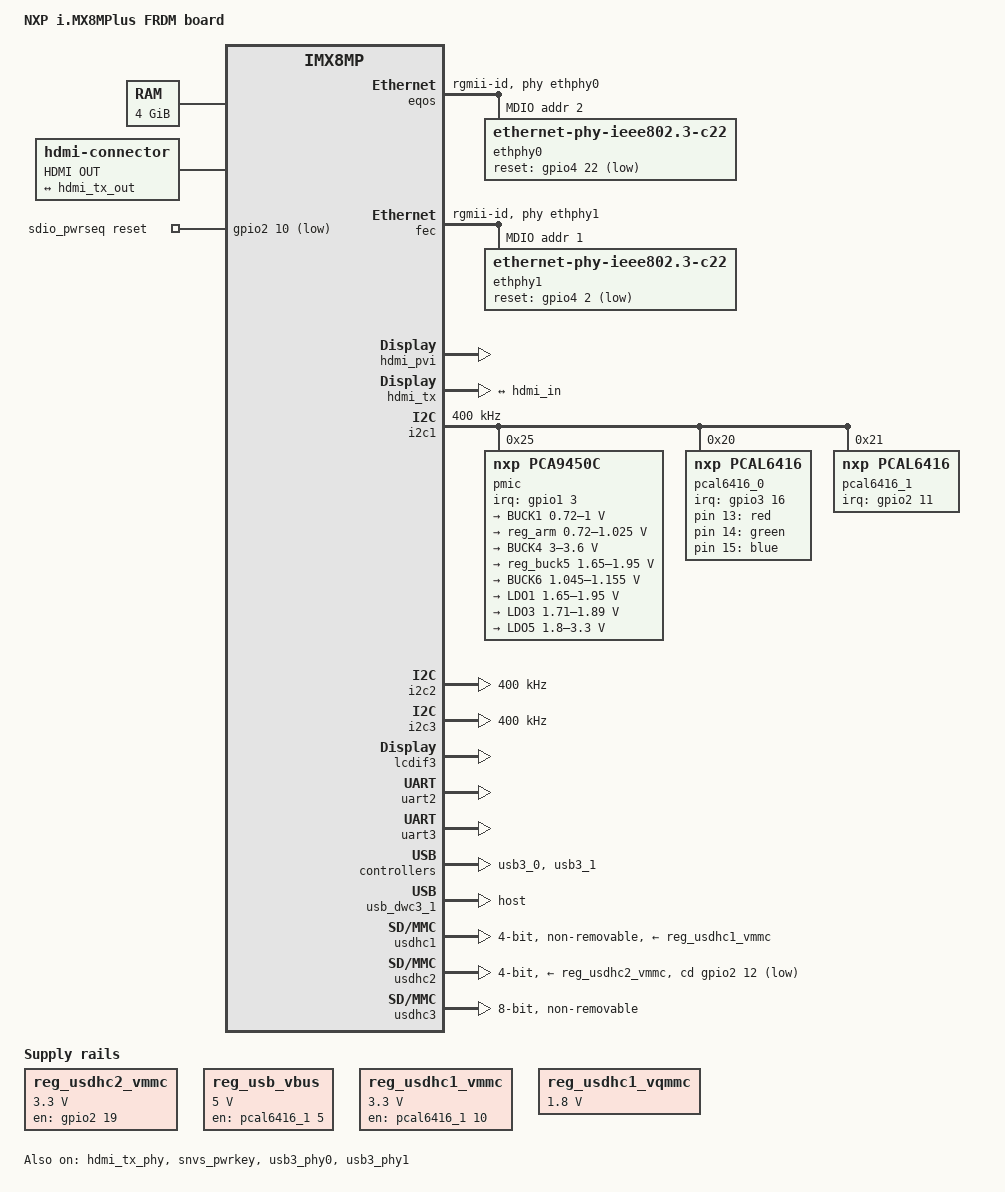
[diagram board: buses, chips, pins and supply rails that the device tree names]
// SPDX-License-Identifier: (GPL-2.0+ OR MIT)
/*
 * Copyright 2019 NXP
 */

/dts-v1/;

#include "imx8mp.dtsi"

/ {
	model = "NXP i.MX8MPlus FRDM board";
	compatible = "fsl,imx8mp-frdm", "fsl,imx8mp";

	chosen {
		stdout-path = &uart2;
	};

	gpio-leds {
		compatible = "gpio-leds";

		led-0 {
			label = "red";
			gpios = <&pcal6416_0 13 GPIO_ACTIVE_HIGH>;
			default-state = "off";
		};

		led-1 {
			label = "green";
			gpios = <&pcal6416_0 14 GPIO_ACTIVE_HIGH>;
			default-state = "on";
		};

		led-2 {
			label = "blue";
			gpios = <&pcal6416_0 15 GPIO_ACTIVE_HIGH>;
			default-state = "off";
		};
	};

	memory@40000000 {
		device_type = "memory";
		reg = <0x0 0x40000000 0 0xc0000000>,
		      <0x1 0x00000000 0 0x40000000>;
	};

	native-hdmi-connector {
		compatible = "hdmi-connector";
		label = "HDMI OUT";
		type = "a";

		port {
			hdmi_in: endpoint {
				remote-endpoint = <&hdmi_tx_out>;
			};
		};
	};

	reg_usdhc2_vmmc: regulator-sd {
		compatible = "regulator-fixed";
		pinctrl-names = "default";
		pinctrl-0 = <&pinctrl_reg_usdhc2_vmmc>;
		regulator-name = "VSD_3V3";
		regulator-min-microvolt = <3300000>;
		regulator-max-microvolt = <3300000>;
		gpio = <&gpio2 19 GPIO_ACTIVE_HIGH>;
		enable-active-high;
	};

	reg_usb_vbus: regulator-vbus {
		compatible = "regulator-fixed";
		regulator-name = "USB_VBUS";
		regulator-min-microvolt = <5000000>;
		regulator-max-microvolt = <5000000>;
		gpio = <&pcal6416_1 5 GPIO_ACTIVE_HIGH>;
		enable-active-high;
	};

	reg_usdhc1_vmmc: regulator-wifi-vmmc {
		compatible = "regulator-fixed";
		regulator-name = "WLAN_EN";
		regulator-min-microvolt = <3300000>;
		regulator-max-microvolt = <3300000>;
		gpio = <&pcal6416_1 10 GPIO_ACTIVE_HIGH>;
		/*
		 * IW612 wifi chip needs more delay than other wifi chips to complete
		 * the host interface initialization after power up, otherwise the
		 * internal state of IW612 may be unstable, resulting in the failure of
		 * the SDIO3.0 switch voltage.
		 */
		enable-active-high;
		startup-delay-us = <20000>;
	};

	reg_usdhc1_vqmmc: regulator-wifi-vqmmc {
		compatible = "regulator-fixed";
		regulator-name = "regulator-wifi-vqmmc";
		regulator-min-microvolt = <1800000>;
		regulator-max-microvolt = <1800000>;
		enable-active-high;
	};

	sdio_pwrseq: usdhc1-pwrseq {
		compatible = "mmc-pwrseq-simple";
		reset-gpios = <&gpio2 10 GPIO_ACTIVE_LOW>;
	};
};

&A53_0 {
	cpu-supply = <&reg_arm>;
};

&A53_1 {
	cpu-supply = <&reg_arm>;
};

&A53_2 {
	cpu-supply = <&reg_arm>;
};

&A53_3 {
	cpu-supply = <&reg_arm>;
};

&eqos {
	pinctrl-names = "default";
	pinctrl-0 = <&pinctrl_eqos>;
	phy-mode = "rgmii-id";
	phy-handle = <&ethphy0>;
	snps,force_thresh_dma_mode;
	snps,mtl-tx-config = <&mtl_tx_setup>;
	snps,mtl-rx-config = <&mtl_rx_setup>;
	status = "okay";

	mdio {
		compatible = "snps,dwmac-mdio";
		#address-cells = <1>;
		#size-cells = <0>;

		ethphy0: ethernet-phy@2 {
			compatible = "ethernet-phy-ieee802.3-c22";
			reg = <2>;
			pinctrl-names = "default";
			pinctrl-0 = <&pinctrl_eqos_phy>;
			reset-gpios = <&gpio4 22 GPIO_ACTIVE_LOW>;
			reset-assert-us = <10000>;
			reset-deassert-us = <80000>;
		};
	};

	mtl_tx_setup: tx-queues-config {
		snps,tx-queues-to-use = <5>;

		queue0 {
			snps,dcb-algorithm;
			snps,priority = <0x1>;
		};

		queue1 {
			snps,dcb-algorithm;
			snps,priority = <0x2>;
		};

		queue2 {
			snps,dcb-algorithm;
			snps,priority = <0x4>;
		};

		queue3 {
			snps,dcb-algorithm;
			snps,priority = <0x8>;
		};

		queue4 {
			snps,dcb-algorithm;
			snps,priority = <0xf0>;
		};
	};

	mtl_rx_setup: rx-queues-config {
		snps,rx-queues-to-use = <5>;
		snps,rx-sched-sp;

		queue0 {
			snps,dcb-algorithm;
			snps,priority = <0x1>;
			snps,map-to-dma-channel = <0>;
		};

		queue1 {
			snps,dcb-algorithm;
			snps,priority = <0x2>;
			snps,map-to-dma-channel = <1>;
		};

		queue2 {
			snps,dcb-algorithm;
			snps,priority = <0x4>;
			snps,map-to-dma-channel = <2>;
		};

		queue3 {
			snps,dcb-algorithm;
			snps,priority = <0x8>;
			snps,map-to-dma-channel = <3>;
		};

		queue4 {
			snps,dcb-algorithm;
			snps,priority = <0xf0>;
			snps,map-to-dma-channel = <4>;
		};
	};
};

&fec {
	pinctrl-names = "default";
	pinctrl-0 = <&pinctrl_fec>;
	phy-mode = "rgmii-id";
	phy-handle = <&ethphy1>;
	fsl,magic-packet;
	status = "okay";

	mdio {
		#address-cells = <1>;
		#size-cells = <0>;

		ethphy1: ethernet-phy@1 {
			compatible = "ethernet-phy-ieee802.3-c22";
			reg = <1>;
			pinctrl-names = "default";
			pinctrl-0 = <&pinctrl_fec_phy>;
			eee-broken-1000t;
			reset-gpios = <&gpio4 2 GPIO_ACTIVE_LOW>;
			reset-assert-us = <10000>;
			reset-deassert-us = <80000>;
			realtek,aldps-enable;
			realtek,clkout-disable;
		};
	};
};

&hdmi_pvi {
	status = "okay";
};

&hdmi_tx {
	pinctrl-names = "default";
	pinctrl-0 = <&pinctrl_hdmi>;
	status = "okay";

	ports {
		port@1 {
			hdmi_tx_out: endpoint {
				remote-endpoint = <&hdmi_in>;
			};
		};
	};
};

&hdmi_tx_phy {
	status = "okay";
};

&i2c1 {
	clock-frequency = <400000>;
	pinctrl-names = "default";
	pinctrl-0 = <&pinctrl_i2c1>;
	status = "okay";

	pmic@25 {
		compatible = "nxp,pca9450c";
		reg = <0x25>;
		pinctrl-names = "default";
		pinctrl-0 = <&pinctrl_pmic>;
		interrupt-parent = <&gpio1>;
		interrupts = <3 IRQ_TYPE_LEVEL_LOW>;

		regulators {
			BUCK1 {
				regulator-name = "BUCK1";
				regulator-min-microvolt = <720000>;
				regulator-max-microvolt = <1000000>;
				regulator-boot-on;
				regulator-always-on;
				regulator-ramp-delay = <3125>;
			};

			reg_arm: BUCK2 {
				regulator-name = "BUCK2";
				regulator-min-microvolt = <720000>;
				regulator-max-microvolt = <1025000>;
				regulator-boot-on;
				regulator-always-on;
				regulator-ramp-delay = <3125>;
				nxp,dvs-run-voltage = <950000>;
				nxp,dvs-standby-voltage = <850000>;
			};

			BUCK4 {
				regulator-name = "BUCK4";
				regulator-min-microvolt = <3000000>;
				regulator-max-microvolt = <3600000>;
				regulator-boot-on;
				regulator-always-on;
			};

			reg_buck5: BUCK5 {
				regulator-name = "BUCK5";
				regulator-min-microvolt = <1650000>;
				regulator-max-microvolt = <1950000>;
				regulator-boot-on;
				regulator-always-on;
			};

			BUCK6 {
				regulator-name = "BUCK6";
				regulator-min-microvolt = <1045000>;
				regulator-max-microvolt = <1155000>;
				regulator-boot-on;
				regulator-always-on;
			};

			LDO1 {
				regulator-name = "LDO1";
				regulator-min-microvolt = <1650000>;
				regulator-max-microvolt = <1950000>;
				regulator-boot-on;
				regulator-always-on;
			};

			LDO3 {
				regulator-name = "LDO3";
				regulator-min-microvolt = <1710000>;
				regulator-max-microvolt = <1890000>;
				regulator-boot-on;
				regulator-always-on;
			};

			LDO5 {
				regulator-name = "LDO5";
				regulator-min-microvolt = <1800000>;
				regulator-max-microvolt = <3300000>;
				regulator-boot-on;
				regulator-always-on;
			};
		};
	};

	pcal6416_0: gpio@20 {
		compatible = "nxp,pcal6416";
		reg = <0x20>;
		gpio-controller;
		#gpio-cells = <2>;
		interrupt-controller;
		#interrupt-cells = <2>;
		pinctrl-names = "default";
		pinctrl-0 = <&pinctrl_pcal6416_0_int>;
		interrupt-parent = <&gpio3>;
		interrupts = <16 IRQ_TYPE_LEVEL_LOW>;
		gpio-line-names = "CSI1_nRST",
			"CSI2_nRST",
			"DSI_CTP_RST",
			"EXT_PWREN1",
			"CAN_STBY",
			"EXP_P0_5",
			"EXP_P0_6",
			"P0_7",
			"LVDS0_BLT_EN",
			"LVDS1_BLT_EN",
			"LVDS0_CTP_RST",
			"LVDS1_CTP_RST",
			"SPK_PWREN",
			"RLED_GPIO",
			"GLED_GPIO",
			"BLED_GPIO";
	};

	pcal6416_1: gpio@21 {
		compatible = "nxp,pcal6416";
		reg = <0x21>;
		gpio-controller;
		#gpio-cells = <2>;
		interrupt-controller;
		#interrupt-cells = <2>;
		pinctrl-names = "default";
		pinctrl-0 = <&pinctrl_pcal6416_1_int>;
		interrupt-parent = <&gpio2>;
		interrupts = <11 IRQ_TYPE_LEVEL_LOW>;
		gpio-line-names = "P0_0",
			"P0_1",
			"AUD_nINT",
			"RTC_nINTA",
			"USB1_SS_SEL",
			"USB2_PWR_EN",
			"SPI_EXP_SEL",
			"P0_7",
			"W2_HOST_WAKE_SD_3V3",
			"W2_HOST_WAKE_BT_3V3",
			"EXP_WIFI_BT_PDN_3V3",
			"EXP_BT_RST_3V3",
			"W2_RST_IND_3V3",
			"SPI_nINT_3V3",
			"KEYM_PCIE_nWAKE",
			"P1_7";
	};
};

&i2c2 {
	clock-frequency = <400000>;
	pinctrl-names = "default";
	pinctrl-0 = <&pinctrl_i2c2>;
	status = "okay";
};

&i2c3 {
	clock-frequency = <400000>;
	pinctrl-names = "default";
	pinctrl-0 = <&pinctrl_i2c3>;
	status = "okay";
};

&lcdif3 {
	status = "okay";
};

&snvs_pwrkey {
	status = "okay";
};

&uart2 {
	pinctrl-names = "default";
	pinctrl-0 = <&pinctrl_uart2>;
	status = "okay";
};

&uart3 {
	pinctrl-names = "default";
	pinctrl-0 = <&pinctrl_uart3>;
	assigned-clocks = <&clk IMX8MP_CLK_UART3>;
	assigned-clock-parents = <&clk IMX8MP_SYS_PLL1_80M>;
	uart-has-rtscts;
	status = "okay";
};

&usb3_0 {
	status = "okay";
};

&usb3_1 {
	status = "okay";
};

&usb3_phy0 {
	status = "okay";
};

&usb3_phy1 {
	vbus-supply = <&reg_usb_vbus>;
	status = "okay";
};

&usb_dwc3_1 {
	dr_mode = "host";
	status = "okay";
};

&usdhc1 {
	assigned-clocks = <&clk IMX8MP_CLK_USDHC1>;
	assigned-clock-rates = <200000000>;
	pinctrl-names = "default", "state_100mhz", "state_200mhz";
	pinctrl-0 = <&pinctrl_usdhc1>;
	pinctrl-1 = <&pinctrl_usdhc1_100mhz>;
	pinctrl-2 = <&pinctrl_usdhc1_200mhz>;
	mmc-pwrseq = <&sdio_pwrseq>;
	vmmc-supply = <&reg_usdhc1_vmmc>;
	vqmmc-supply = <&reg_usdhc1_vqmmc>;
	bus-width = <4>;
	non-removable;
	no-sd;
	no-mmc;
	status = "okay";
};

&usdhc2 {
	assigned-clocks = <&clk IMX8MP_CLK_USDHC2>;
	assigned-clock-rates = <400000000>;
	pinctrl-names = "default", "state_100mhz", "state_200mhz";
	pinctrl-0 = <&pinctrl_usdhc2>, <&pinctrl_usdhc2_gpio>;
	pinctrl-1 = <&pinctrl_usdhc2_100mhz>, <&pinctrl_usdhc2_gpio>;
	pinctrl-2 = <&pinctrl_usdhc2_200mhz>, <&pinctrl_usdhc2_gpio>;
	cd-gpios = <&gpio2 12 GPIO_ACTIVE_LOW>;
	vmmc-supply = <&reg_usdhc2_vmmc>;
	bus-width = <4>;
	status = "okay";
};

&usdhc3 {
	assigned-clocks = <&clk IMX8MP_CLK_USDHC3>;
	assigned-clock-rates = <400000000>;
	pinctrl-names = "default", "state_100mhz", "state_200mhz";
	pinctrl-0 = <&pinctrl_usdhc3>;
	pinctrl-1 = <&pinctrl_usdhc3_100mhz>;
	pinctrl-2 = <&pinctrl_usdhc3_200mhz>;
	bus-width = <8>;
	non-removable;
	status = "okay";
};

&iomuxc {
	pinctrl-names = "default";
	pinctrl-0 = <&pinctrl_hog>;

	pinctrl_eqos: eqosgrp {
		fsl,pins = <
			MX8MP_IOMUXC_ENET_MDC__ENET_QOS_MDC				0x2
			MX8MP_IOMUXC_ENET_MDIO__ENET_QOS_MDIO				0x2
			MX8MP_IOMUXC_ENET_RD0__ENET_QOS_RGMII_RD0			0x90
			MX8MP_IOMUXC_ENET_RD1__ENET_QOS_RGMII_RD1			0x90
			MX8MP_IOMUXC_ENET_RD2__ENET_QOS_RGMII_RD2			0x90
			MX8MP_IOMUXC_ENET_RD3__ENET_QOS_RGMII_RD3			0x90
			MX8MP_IOMUXC_ENET_RXC__CCM_ENET_QOS_CLOCK_GENERATE_RX_CLK	0x90
			MX8MP_IOMUXC_ENET_RX_CTL__ENET_QOS_RGMII_RX_CTL			0x90
			MX8MP_IOMUXC_ENET_TD0__ENET_QOS_RGMII_TD0			0x16
			MX8MP_IOMUXC_ENET_TD1__ENET_QOS_RGMII_TD1			0x16
			MX8MP_IOMUXC_ENET_TD2__ENET_QOS_RGMII_TD2			0x16
			MX8MP_IOMUXC_ENET_TD3__ENET_QOS_RGMII_TD3			0x16
			MX8MP_IOMUXC_ENET_TX_CTL__ENET_QOS_RGMII_TX_CTL			0x16
			MX8MP_IOMUXC_ENET_TXC__CCM_ENET_QOS_CLOCK_GENERATE_TX_CLK	0x16
		>;
	};

	pinctrl_eqos_phy: eqosphygrp {
		fsl,pins = <
			MX8MP_IOMUXC_SAI2_RXC__GPIO4_IO22				0x10
		>;
	};

	pinctrl_fec: fecgrp {
		fsl,pins = <
			MX8MP_IOMUXC_SAI1_RXD2__ENET1_MDC		0x2
			MX8MP_IOMUXC_SAI1_RXD3__ENET1_MDIO		0x2
			MX8MP_IOMUXC_SAI1_RXD4__ENET1_RGMII_RD0		0x90
			MX8MP_IOMUXC_SAI1_RXD5__ENET1_RGMII_RD1		0x90
			MX8MP_IOMUXC_SAI1_RXD6__ENET1_RGMII_RD2		0x90
			MX8MP_IOMUXC_SAI1_RXD7__ENET1_RGMII_RD3		0x90
			MX8MP_IOMUXC_SAI1_TXC__ENET1_RGMII_RXC		0x90
			MX8MP_IOMUXC_SAI1_TXFS__ENET1_RGMII_RX_CTL	0x90
			MX8MP_IOMUXC_SAI1_TXD0__ENET1_RGMII_TD0		0x16
			MX8MP_IOMUXC_SAI1_TXD1__ENET1_RGMII_TD1		0x16
			MX8MP_IOMUXC_SAI1_TXD2__ENET1_RGMII_TD2		0x16
			MX8MP_IOMUXC_SAI1_TXD3__ENET1_RGMII_TD3		0x16
			MX8MP_IOMUXC_SAI1_TXD4__ENET1_RGMII_TX_CTL	0x16
			MX8MP_IOMUXC_SAI1_TXD5__ENET1_RGMII_TXC		0x16
		>;
	};

	pinctrl_fec_phy: fecphygrp {
		fsl,pins = <
			MX8MP_IOMUXC_SAI1_RXD0__GPIO4_IO02		0x10
		>;
	};

	pinctrl_hdmi: hdmigrp {
		fsl,pins = <
			MX8MP_IOMUXC_HDMI_CEC__HDMIMIX_HDMI_CEC		0x10
		>;
	};

	pinctrl_hog: hoggrp {
		fsl,pins = <
			/* Pin might be required by multiple drivers
			 * (e. g. HDMI Audio and HDMI TX)
			 */
			MX8MP_IOMUXC_HDMI_HPD__HDMIMIX_HDMI_HPD		0x40000010
		>;
	};

	pinctrl_i2c1: i2c1grp {
		fsl,pins = <
			MX8MP_IOMUXC_I2C1_SCL__I2C1_SCL	(MX8MP_DSE_X4 | MX8MP_I2C_DEFAULT)
			MX8MP_IOMUXC_I2C1_SDA__I2C1_SDA	(MX8MP_DSE_X4 | MX8MP_I2C_DEFAULT)
		>;
	};

	pinctrl_i2c2: i2c2grp {
		fsl,pins = <
			MX8MP_IOMUXC_I2C2_SCL__I2C2_SCL	(MX8MP_DSE_X4 | MX8MP_I2C_DEFAULT)
			MX8MP_IOMUXC_I2C2_SDA__I2C2_SDA	(MX8MP_DSE_X4 | MX8MP_I2C_DEFAULT)
		>;
	};

	pinctrl_i2c3: i2c3grp {
		fsl,pins = <
			MX8MP_IOMUXC_I2C3_SCL__I2C3_SCL	(MX8MP_DSE_X4 | MX8MP_I2C_DEFAULT)
			MX8MP_IOMUXC_I2C3_SDA__I2C3_SDA	(MX8MP_DSE_X4 | MX8MP_I2C_DEFAULT)
		>;
	};

	pinctrl_pmic: pmicgrp {
		fsl,pins = <
			MX8MP_IOMUXC_GPIO1_IO03__GPIO1_IO03
				(MX8MP_PULL_UP | MX8MP_HYS_SCHMITT | MX8MP_PULL_ENABLE)
		>;
	};

	pinctrl_pcal6416_0_int: pcal6416-0-int-grp {
		fsl,pins = <
			MX8MP_IOMUXC_NAND_READY_B__GPIO3_IO16
				(MX8MP_DSE_X6 | MX8MP_PULL_UP | MX8MP_PULL_ENABLE)
		>;
	};

	pinctrl_pcal6416_1_int: pcal6416-1-int-grp {
		fsl,pins = <
			MX8MP_IOMUXC_SD1_STROBE__GPIO2_IO11
				(MX8MP_DSE_X6 | MX8MP_PULL_UP | MX8MP_PULL_ENABLE)

		>;
	};

	pinctrl_reg_usdhc2_vmmc: regusdhc2vmmcgrp {
		fsl,pins = <
			MX8MP_IOMUXC_SD2_RESET_B__GPIO2_IO19	0x40
		>;
	};

	pinctrl_uart2: uart2grp {
		fsl,pins = <
			MX8MP_IOMUXC_UART2_RXD__UART2_DCE_RX	(MX8MP_PULL_UP | MX8MP_PULL_ENABLE)
			MX8MP_IOMUXC_UART2_TXD__UART2_DCE_TX	(MX8MP_PULL_UP | MX8MP_PULL_ENABLE)

		>;
	};

	pinctrl_uart3: uart3grp {
		fsl,pins = <
			MX8MP_IOMUXC_ECSPI1_SCLK__UART3_DCE_RX	(MX8MP_PULL_UP | MX8MP_PULL_ENABLE)
			MX8MP_IOMUXC_ECSPI1_MOSI__UART3_DCE_TX	(MX8MP_PULL_UP | MX8MP_PULL_ENABLE)
			MX8MP_IOMUXC_ECSPI1_SS0__UART3_DCE_RTS	(MX8MP_PULL_UP | MX8MP_PULL_ENABLE)
			MX8MP_IOMUXC_ECSPI1_MISO__UART3_DCE_CTS	(MX8MP_PULL_UP | MX8MP_PULL_ENABLE)
		>;
	};

	pinctrl_usdhc1: usdhc1grp {
		fsl,pins = <
			MX8MP_IOMUXC_SD1_CLK__USDHC1_CLK	0x190
			MX8MP_IOMUXC_SD1_CMD__USDHC1_CMD	0x1d0
			MX8MP_IOMUXC_SD1_DATA0__USDHC1_DATA0	0x1d0
			MX8MP_IOMUXC_SD1_DATA1__USDHC1_DATA1	0x1d0
			MX8MP_IOMUXC_SD1_DATA2__USDHC1_DATA2	0x1d0
			MX8MP_IOMUXC_SD1_DATA3__USDHC1_DATA3	0x1d0
		>;
	};

	pinctrl_usdhc1_100mhz: usdhc1-100mhzgrp {
		fsl,pins = <
			MX8MP_IOMUXC_SD1_CLK__USDHC1_CLK	0x194
			MX8MP_IOMUXC_SD1_CMD__USDHC1_CMD	0x1d4
			MX8MP_IOMUXC_SD1_DATA0__USDHC1_DATA0	0x1d4
			MX8MP_IOMUXC_SD1_DATA1__USDHC1_DATA1	0x1d4
			MX8MP_IOMUXC_SD1_DATA2__USDHC1_DATA2	0x1d4
			MX8MP_IOMUXC_SD1_DATA3__USDHC1_DATA3	0x1d4
		>;
	};

	pinctrl_usdhc1_200mhz: usdhc1-200mhzgrp {
		fsl,pins = <
			MX8MP_IOMUXC_SD1_CLK__USDHC1_CLK	0x196
			MX8MP_IOMUXC_SD1_CMD__USDHC1_CMD	0x1d6
			MX8MP_IOMUXC_SD1_DATA0__USDHC1_DATA0	0x1d6
			MX8MP_IOMUXC_SD1_DATA1__USDHC1_DATA1	0x1d6
			MX8MP_IOMUXC_SD1_DATA2__USDHC1_DATA2	0x1d6
			MX8MP_IOMUXC_SD1_DATA3__USDHC1_DATA3	0x1d6
		>;
	};

	pinctrl_usdhc2: usdhc2grp {
		fsl,pins = <
			MX8MP_IOMUXC_SD2_CLK__USDHC2_CLK	0x190
			MX8MP_IOMUXC_SD2_CMD__USDHC2_CMD	0x1d0
			MX8MP_IOMUXC_SD2_DATA0__USDHC2_DATA0	0x1d0
			MX8MP_IOMUXC_SD2_DATA1__USDHC2_DATA1	0x1d0
			MX8MP_IOMUXC_SD2_DATA2__USDHC2_DATA2	0x1d0
			MX8MP_IOMUXC_SD2_DATA3__USDHC2_DATA3	0x1d0
			MX8MP_IOMUXC_GPIO1_IO04__USDHC2_VSELECT	0xc0
		>;
	};

	pinctrl_usdhc2_100mhz: usdhc2-100mhzgrp {
		fsl,pins = <
			MX8MP_IOMUXC_SD2_CLK__USDHC2_CLK	0x194
			MX8MP_IOMUXC_SD2_CMD__USDHC2_CMD	0x1d4
			MX8MP_IOMUXC_SD2_DATA0__USDHC2_DATA0	0x1d4
			MX8MP_IOMUXC_SD2_DATA1__USDHC2_DATA1	0x1d4
			MX8MP_IOMUXC_SD2_DATA2__USDHC2_DATA2	0x1d4
			MX8MP_IOMUXC_SD2_DATA3__USDHC2_DATA3	0x1d4
			MX8MP_IOMUXC_GPIO1_IO04__USDHC2_VSELECT 0xc0
		>;
	};

	pinctrl_usdhc2_200mhz: usdhc2-200mhzgrp {
		fsl,pins = <
			MX8MP_IOMUXC_SD2_CLK__USDHC2_CLK	0x196
			MX8MP_IOMUXC_SD2_CMD__USDHC2_CMD	0x1d6
			MX8MP_IOMUXC_SD2_DATA0__USDHC2_DATA0	0x1d6
			MX8MP_IOMUXC_SD2_DATA1__USDHC2_DATA1	0x1d6
			MX8MP_IOMUXC_SD2_DATA2__USDHC2_DATA2	0x1d6
			MX8MP_IOMUXC_SD2_DATA3__USDHC2_DATA3	0x1d6
			MX8MP_IOMUXC_GPIO1_IO04__USDHC2_VSELECT 0xc0
		>;
	};

	pinctrl_usdhc2_gpio: usdhc2gpiogrp {
		fsl,pins = <
			MX8MP_IOMUXC_SD2_CD_B__GPIO2_IO12	0x1c4
		>;
	};

	pinctrl_usdhc3: usdhc3grp {
		fsl,pins = <
			MX8MP_IOMUXC_NAND_WE_B__USDHC3_CLK
				(MX8MP_FSEL_FAST | MX8MP_HYS_SCHMITT | MX8MP_PULL_ENABLE)
			MX8MP_IOMUXC_NAND_WP_B__USDHC3_CMD
				(MX8MP_FSEL_FAST | MX8MP_PULL_UP |
				MX8MP_HYS_SCHMITT | MX8MP_PULL_ENABLE)
			MX8MP_IOMUXC_NAND_DATA04__USDHC3_DATA0	MX8MP_USDHC_DATA_DEFAULT
			MX8MP_IOMUXC_NAND_DATA05__USDHC3_DATA1	MX8MP_USDHC_DATA_DEFAULT
			MX8MP_IOMUXC_NAND_DATA06__USDHC3_DATA2	MX8MP_USDHC_DATA_DEFAULT
			MX8MP_IOMUXC_NAND_DATA07__USDHC3_DATA3	MX8MP_USDHC_DATA_DEFAULT
			MX8MP_IOMUXC_NAND_RE_B__USDHC3_DATA4	MX8MP_USDHC_DATA_DEFAULT
			MX8MP_IOMUXC_NAND_CE2_B__USDHC3_DATA5	MX8MP_USDHC_DATA_DEFAULT
			MX8MP_IOMUXC_NAND_CE3_B__USDHC3_DATA6	MX8MP_USDHC_DATA_DEFAULT
			MX8MP_IOMUXC_NAND_CLE__USDHC3_DATA7	MX8MP_USDHC_DATA_DEFAULT
			MX8MP_IOMUXC_NAND_CE1_B__USDHC3_STROBE
				(MX8MP_FSEL_FAST | MX8MP_HYS_SCHMITT | MX8MP_PULL_ENABLE)
		>;
	};

	pinctrl_usdhc3_100mhz: usdhc3-100mhzgrp {
		fsl,pins = <
			MX8MP_IOMUXC_NAND_WE_B__USDHC3_CLK
				(MX8MP_DSE_X2 | MX8MP_FSEL_FAST |
				MX8MP_HYS_SCHMITT | MX8MP_PULL_ENABLE)
			MX8MP_IOMUXC_NAND_WP_B__USDHC3_CMD
				(MX8MP_DSE_X2 | MX8MP_USDHC_DATA_DEFAULT)
			MX8MP_IOMUXC_NAND_DATA04__USDHC3_DATA0
				(MX8MP_DSE_X2 | MX8MP_USDHC_DATA_DEFAULT)
			MX8MP_IOMUXC_NAND_DATA05__USDHC3_DATA1
				(MX8MP_DSE_X2 | MX8MP_USDHC_DATA_DEFAULT)
			MX8MP_IOMUXC_NAND_DATA06__USDHC3_DATA2
				(MX8MP_DSE_X2 | MX8MP_USDHC_DATA_DEFAULT)
			MX8MP_IOMUXC_NAND_DATA07__USDHC3_DATA3
				(MX8MP_DSE_X2 | MX8MP_USDHC_DATA_DEFAULT)
			MX8MP_IOMUXC_NAND_RE_B__USDHC3_DATA4
				(MX8MP_DSE_X2 | MX8MP_USDHC_DATA_DEFAULT)
			MX8MP_IOMUXC_NAND_CE2_B__USDHC3_DATA5
				(MX8MP_DSE_X2 | MX8MP_USDHC_DATA_DEFAULT)
			MX8MP_IOMUXC_NAND_CE3_B__USDHC3_DATA6
				(MX8MP_DSE_X2 | MX8MP_USDHC_DATA_DEFAULT)
			MX8MP_IOMUXC_NAND_CLE__USDHC3_DATA7
				(MX8MP_DSE_X2 | MX8MP_USDHC_DATA_DEFAULT)
			MX8MP_IOMUXC_NAND_CE1_B__USDHC3_STROBE
				(MX8MP_DSE_X2 | MX8MP_FSEL_FAST |
				MX8MP_HYS_SCHMITT | MX8MP_PULL_ENABLE)
		>;
	};

	pinctrl_usdhc3_200mhz: usdhc3-200mhzgrp {
		fsl,pins = <
			MX8MP_IOMUXC_NAND_WE_B__USDHC3_CLK
				(MX8MP_DSE_X6 | MX8MP_FSEL_FAST |
				MX8MP_HYS_SCHMITT | MX8MP_PULL_ENABLE)
			MX8MP_IOMUXC_NAND_WP_B__USDHC3_CMD
				(MX8MP_DSE_X6 | MX8MP_FSEL_FAST | MX8MP_PULL_UP |
				MX8MP_HYS_SCHMITT | MX8MP_PULL_ENABLE)
			MX8MP_IOMUXC_NAND_DATA04__USDHC3_DATA0
				(MX8MP_DSE_X6 | MX8MP_USDHC_DATA_DEFAULT)
			MX8MP_IOMUXC_NAND_DATA05__USDHC3_DATA1
				(MX8MP_DSE_X6 | MX8MP_USDHC_DATA_DEFAULT)
			MX8MP_IOMUXC_NAND_DATA06__USDHC3_DATA2
				(MX8MP_DSE_X6 | MX8MP_USDHC_DATA_DEFAULT)
			MX8MP_IOMUXC_NAND_DATA07__USDHC3_DATA3
				(MX8MP_DSE_X6 | MX8MP_USDHC_DATA_DEFAULT)
			MX8MP_IOMUXC_NAND_RE_B__USDHC3_DATA4
				(MX8MP_DSE_X6 | MX8MP_USDHC_DATA_DEFAULT)
			MX8MP_IOMUXC_NAND_CE2_B__USDHC3_DATA5
				(MX8MP_DSE_X6 | MX8MP_USDHC_DATA_DEFAULT)
			MX8MP_IOMUXC_NAND_CE3_B__USDHC3_DATA6
				(MX8MP_DSE_X6 | MX8MP_USDHC_DATA_DEFAULT)
			MX8MP_IOMUXC_NAND_CLE__USDHC3_DATA7
				(MX8MP_DSE_X6 | MX8MP_USDHC_DATA_DEFAULT)
			MX8MP_IOMUXC_NAND_CE1_B__USDHC3_STROBE
				(MX8MP_DSE_X6 | MX8MP_FSEL_FAST |
				MX8MP_HYS_SCHMITT | MX8MP_PULL_ENABLE)
		>;
	};
};
